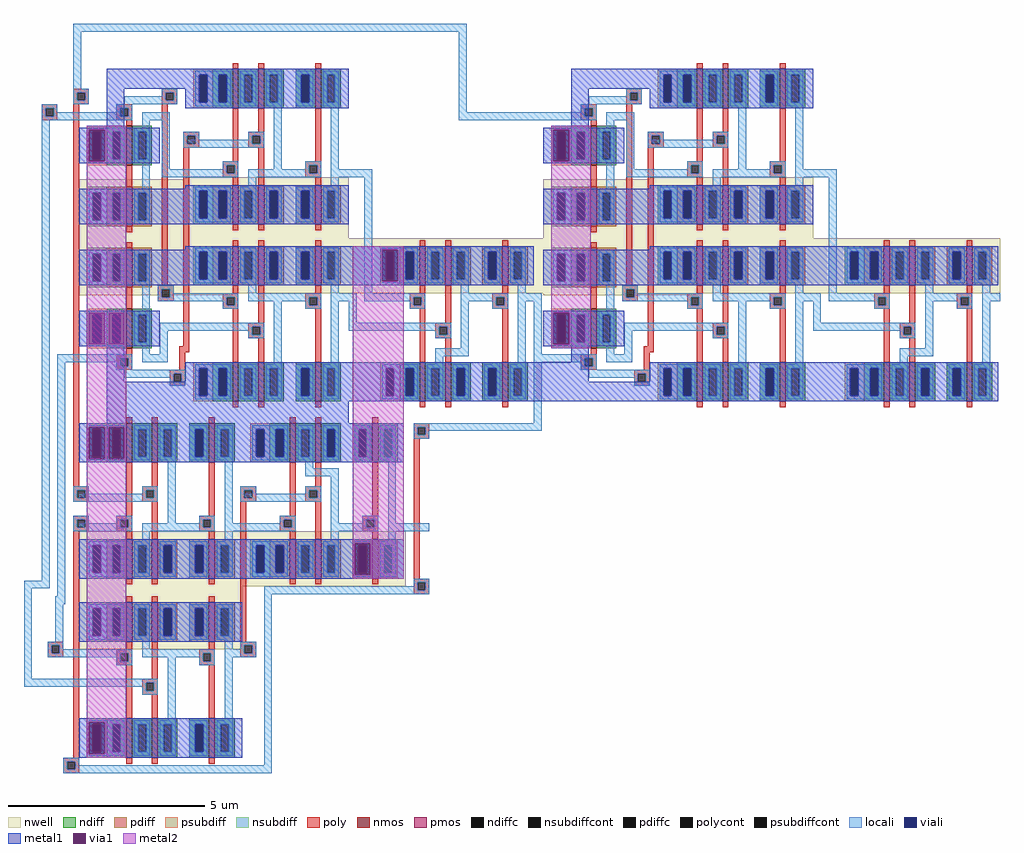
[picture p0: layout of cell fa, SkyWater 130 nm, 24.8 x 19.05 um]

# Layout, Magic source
magic
tech sky130A
<< nwell >>
rect 1110 290 1215 430
rect 0 -420 275 -385
rect 0 -505 415 -420
<< poly >>
rect -15 800 25 810
rect -15 780 -5 800
rect 15 780 25 800
rect -15 770 25 780
rect -95 760 -55 770
rect -95 740 -85 760
rect -65 740 -55 760
rect -95 730 -55 740
rect -15 -200 0 770
rect 850 -50 890 -40
rect 850 -70 860 -50
rect 880 -70 890 -50
rect 850 -80 890 -70
rect -15 -210 25 -200
rect -15 -230 -5 -210
rect 15 -230 25 -210
rect -15 -240 25 -230
rect 410 -210 450 -200
rect 410 -230 420 -210
rect 440 -230 450 -210
rect 410 -240 450 -230
rect -15 -285 25 -275
rect -15 -305 -5 -285
rect 15 -305 25 -285
rect -15 -315 25 -305
rect -80 -605 -40 -595
rect -80 -625 -70 -605
rect -50 -625 -40 -605
rect -80 -635 -40 -625
rect -15 -890 0 -315
rect 410 -595 425 -240
rect 850 -435 865 -80
rect 850 -445 890 -435
rect 850 -465 860 -445
rect 880 -465 890 -445
rect 850 -475 890 -465
rect 410 -605 450 -595
rect 410 -625 420 -605
rect 440 -625 450 -605
rect 410 -635 450 -625
rect -40 -900 0 -890
rect -40 -920 -30 -900
rect -10 -920 0 -900
rect -40 -930 0 -920
<< polycont >>
rect -5 780 15 800
rect -85 740 -65 760
rect 860 -70 880 -50
rect -5 -230 15 -210
rect 420 -230 440 -210
rect -5 -305 15 -285
rect -70 -625 -50 -605
rect 860 -465 880 -445
rect 420 -625 440 -605
rect -30 -920 -10 -900
<< locali >>
rect -15 955 985 975
rect -15 810 5 955
rect -15 800 25 810
rect -15 780 -5 800
rect 15 780 25 800
rect -15 770 25 780
rect -95 760 -55 770
rect -95 740 -85 760
rect -65 750 -55 760
rect 965 750 985 955
rect -65 740 0 750
rect -95 730 0 740
rect 965 730 1215 750
rect -95 -440 -75 730
rect 1160 280 1175 290
rect 1155 135 1175 280
rect -140 -460 -75 -440
rect -55 115 0 135
rect 1155 115 1190 135
rect -140 -690 -120 -460
rect -55 -480 -35 115
rect 1155 -40 1175 115
rect 850 -50 1175 -40
rect 850 -70 860 -50
rect 880 -60 1175 -50
rect 880 -70 890 -60
rect 850 -80 890 -70
rect -15 -210 25 -200
rect -15 -230 -5 -210
rect 15 -230 25 -210
rect -15 -240 25 -230
rect 410 -210 450 -200
rect 410 -230 420 -210
rect 440 -230 450 -210
rect 410 -240 450 -230
rect -15 -285 25 -275
rect -15 -305 -5 -285
rect 15 -305 25 -285
rect -15 -315 25 -305
rect 820 -315 890 -295
rect 850 -445 890 -435
rect 850 -455 860 -445
rect -60 -500 -35 -480
rect 470 -465 860 -455
rect 880 -465 890 -445
rect 470 -475 890 -465
rect -60 -595 -40 -500
rect -80 -605 -40 -595
rect -80 -625 -70 -605
rect -50 -615 -40 -605
rect 410 -605 450 -595
rect -50 -625 20 -615
rect -80 -635 20 -625
rect 410 -625 420 -605
rect 440 -625 450 -605
rect 410 -635 450 -625
rect -140 -710 25 -690
rect -40 -900 0 -890
rect -40 -920 -30 -900
rect -10 -910 0 -900
rect 470 -910 490 -475
rect -10 -920 490 -910
rect -40 -930 490 -920
<< metal1 >>
rect 1140 20 1255 115
rect 70 -45 685 20
rect 1155 15 1255 20
<< via1 >>
rect 770 320 810 400
rect 75 160 115 240
rect 25 -130 65 -50
rect 75 -130 115 -50
rect 700 -425 740 -345
rect 25 -880 65 -800
<< metal2 >>
rect 695 400 825 410
rect 695 320 770 400
rect 810 320 825 400
rect 20 240 120 250
rect 20 160 75 240
rect 115 160 120 240
rect 20 -50 120 160
rect 20 -130 25 -50
rect 65 -130 75 -50
rect 115 -130 120 -50
rect 20 -800 120 -130
rect 695 -345 825 320
rect 695 -425 700 -345
rect 740 -425 825 -345
rect 695 -435 825 -425
rect 20 -880 25 -800
rect 65 -880 120 -800
rect 20 -890 120 -880
use and  and_0
transform 1 0 120 0 -1 -340
box -120 -315 295 115
use and  and_1
transform 1 0 120 0 1 -590
box -120 -315 295 115
use or  or_0
transform 1 0 535 0 -1 -340
box -120 -315 295 115
use xor_  xor__0
transform 1 0 275 0 1 0
box -275 0 885 875
use xor_  xor__1
transform 1 0 1455 0 1 0
box -275 0 885 875
<< end >>

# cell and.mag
magic
tech sky130A
<< nwell >>
rect -120 -25 295 115
<< nmos >>
rect 0 -300 15 -200
rect 65 -300 80 -200
rect 210 -300 225 -200
<< pmos >>
rect 0 -5 15 95
rect 65 -5 80 95
rect 210 -5 225 95
<< ndiff >>
rect -50 -215 0 -200
rect -50 -285 -35 -215
rect -15 -285 0 -215
rect -50 -300 0 -285
rect 15 -215 65 -200
rect 15 -285 30 -215
rect 50 -285 65 -215
rect 15 -300 65 -285
rect 80 -215 130 -200
rect 80 -285 95 -215
rect 115 -285 130 -215
rect 80 -300 130 -285
rect 160 -215 210 -200
rect 160 -285 175 -215
rect 195 -285 210 -215
rect 160 -300 210 -285
rect 225 -215 275 -200
rect 225 -285 240 -215
rect 260 -285 275 -215
rect 225 -300 275 -285
<< pdiff >>
rect -50 80 0 95
rect -50 10 -35 80
rect -15 10 0 80
rect -50 -5 0 10
rect 15 80 65 95
rect 15 10 30 80
rect 50 10 65 80
rect 15 -5 65 10
rect 80 80 130 95
rect 80 10 95 80
rect 115 10 130 80
rect 80 -5 130 10
rect 160 80 210 95
rect 160 10 175 80
rect 195 10 210 80
rect 160 -5 210 10
rect 225 80 275 95
rect 225 10 240 80
rect 260 10 275 80
rect 225 -5 275 10
<< ndiffc >>
rect -35 -285 -15 -215
rect 30 -285 50 -215
rect 95 -285 115 -215
rect 175 -285 195 -215
rect 240 -285 260 -215
<< pdiffc >>
rect -35 10 -15 80
rect 30 10 50 80
rect 95 10 115 80
rect 175 10 195 80
rect 240 10 260 80
<< psubdiff >>
rect -100 -215 -50 -200
rect -100 -285 -85 -215
rect -65 -285 -50 -215
rect -100 -300 -50 -285
<< nsubdiff >>
rect -100 80 -50 95
rect -100 10 -85 80
rect -65 10 -50 80
rect -100 -5 -50 10
<< psubdiffcont >>
rect -85 -285 -65 -215
<< nsubdiffcont >>
rect -85 10 -65 80
<< poly >>
rect 0 95 15 110
rect 65 95 80 110
rect 210 95 225 110
rect 0 -25 15 -5
rect -25 -35 15 -25
rect -25 -55 -15 -35
rect 5 -55 15 -35
rect -25 -65 15 -55
rect 0 -200 15 -65
rect 65 -100 80 -5
rect 210 -25 225 -5
rect 185 -35 225 -25
rect 185 -55 195 -35
rect 215 -55 225 -35
rect 185 -65 225 -55
rect 40 -110 80 -100
rect 40 -130 50 -110
rect 70 -130 80 -110
rect 40 -140 80 -130
rect 65 -200 80 -140
rect 210 -200 225 -65
rect 0 -315 15 -300
rect 65 -315 80 -300
rect 210 -315 225 -300
<< polycont >>
rect -15 -55 5 -35
rect 195 -55 215 -35
rect 50 -130 70 -110
<< locali >>
rect -95 80 -5 90
rect -95 10 -85 80
rect -65 10 -35 80
rect -15 10 -5 80
rect -95 0 -5 10
rect 20 80 60 90
rect 20 10 30 80
rect 50 10 60 80
rect 20 0 60 10
rect 85 80 125 90
rect 85 10 95 80
rect 115 10 125 80
rect 85 0 125 10
rect 160 80 205 90
rect 160 10 175 80
rect 195 10 205 80
rect 160 0 205 10
rect 230 80 270 90
rect 230 10 240 80
rect 260 10 270 80
rect 230 0 270 10
rect 40 -25 60 0
rect 250 -25 270 0
rect -120 -35 15 -25
rect -120 -45 -15 -35
rect -25 -55 -15 -45
rect 5 -55 15 -35
rect 40 -35 225 -25
rect 40 -45 195 -35
rect -25 -65 15 -55
rect -120 -110 80 -100
rect -120 -120 50 -110
rect 40 -130 50 -120
rect 70 -130 80 -110
rect 40 -140 80 -130
rect 105 -205 125 -45
rect 185 -55 195 -45
rect 215 -55 225 -35
rect 185 -65 225 -55
rect 250 -45 295 -25
rect 250 -205 270 -45
rect -95 -215 -5 -205
rect -95 -285 -85 -215
rect -65 -285 -35 -215
rect -15 -285 -5 -215
rect -95 -295 -5 -285
rect 20 -215 60 -205
rect 20 -285 30 -215
rect 50 -285 60 -215
rect 20 -295 60 -285
rect 85 -215 125 -205
rect 85 -285 95 -215
rect 115 -285 125 -215
rect 85 -295 125 -285
rect 160 -215 205 -205
rect 160 -285 175 -215
rect 195 -285 205 -215
rect 160 -295 205 -285
rect 230 -215 270 -205
rect 230 -285 240 -215
rect 260 -285 270 -215
rect 230 -295 270 -285
<< viali >>
rect -85 10 -65 80
rect -35 10 -15 80
rect 95 10 115 80
rect 175 10 195 80
rect -85 -285 -65 -215
rect -35 -285 -15 -215
rect 175 -285 195 -215
<< metal1 >>
rect -120 80 295 95
rect -120 10 -85 80
rect -65 10 -35 80
rect -15 10 95 80
rect 115 10 175 80
rect 195 10 295 80
rect -120 -5 295 10
rect -120 -215 295 -200
rect -120 -285 -85 -215
rect -65 -285 -35 -215
rect -15 -285 175 -215
rect 195 -285 295 -215
rect -120 -300 295 -285
<< labels >>
rlabel locali -120 -35 -120 -35 7 A
port 1 w
rlabel locali -120 -110 -120 -110 7 B
port 2 w
rlabel metal1 -120 -250 -120 -250 7 VN
port 5 w
rlabel metal1 -120 45 -120 45 7 VP
port 4 w
rlabel locali 295 -35 295 -35 3 X
port 3 e
<< end >>

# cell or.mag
magic
tech sky130A
<< nwell >>
rect -120 -25 295 115
<< nmos >>
rect 0 -300 15 -200
rect 65 -300 80 -200
rect 210 -300 225 -200
<< pmos >>
rect 0 -5 15 95
rect 65 -5 80 95
rect 210 -5 225 95
<< ndiff >>
rect -50 -215 0 -200
rect -50 -285 -35 -215
rect -15 -285 0 -215
rect -50 -300 0 -285
rect 15 -215 65 -200
rect 15 -285 30 -215
rect 50 -285 65 -215
rect 15 -300 65 -285
rect 80 -215 130 -200
rect 80 -285 95 -215
rect 115 -285 130 -215
rect 80 -300 130 -285
rect 160 -215 210 -200
rect 160 -285 175 -215
rect 195 -285 210 -215
rect 160 -300 210 -285
rect 225 -215 275 -200
rect 225 -285 240 -215
rect 260 -285 275 -215
rect 225 -300 275 -285
<< pdiff >>
rect -50 80 0 95
rect -50 10 -35 80
rect -15 10 0 80
rect -50 -5 0 10
rect 15 80 65 95
rect 15 10 30 80
rect 50 10 65 80
rect 15 -5 65 10
rect 80 80 130 95
rect 80 10 95 80
rect 115 10 130 80
rect 80 -5 130 10
rect 160 80 210 95
rect 160 10 175 80
rect 195 10 210 80
rect 160 -5 210 10
rect 225 80 275 95
rect 225 10 240 80
rect 260 10 275 80
rect 225 -5 275 10
<< ndiffc >>
rect -35 -285 -15 -215
rect 30 -285 50 -215
rect 95 -285 115 -215
rect 175 -285 195 -215
rect 240 -285 260 -215
<< pdiffc >>
rect -35 10 -15 80
rect 30 10 50 80
rect 95 10 115 80
rect 175 10 195 80
rect 240 10 260 80
<< psubdiff >>
rect -100 -215 -50 -200
rect -100 -285 -85 -215
rect -65 -285 -50 -215
rect -100 -300 -50 -285
<< nsubdiff >>
rect -100 80 -50 95
rect -100 10 -85 80
rect -65 10 -50 80
rect -100 -5 -50 10
<< psubdiffcont >>
rect -85 -285 -65 -215
<< nsubdiffcont >>
rect -85 10 -65 80
<< poly >>
rect 0 95 15 110
rect 65 95 80 110
rect 210 95 225 110
rect 0 -25 15 -5
rect -25 -35 15 -25
rect -25 -55 -15 -35
rect 5 -55 15 -35
rect -25 -65 15 -55
rect 0 -200 15 -65
rect 65 -100 80 -5
rect 210 -25 225 -5
rect 185 -35 225 -25
rect 185 -55 195 -35
rect 215 -55 225 -35
rect 185 -65 225 -55
rect 40 -110 80 -100
rect 40 -130 50 -110
rect 70 -130 80 -110
rect 40 -140 80 -130
rect 65 -200 80 -140
rect 210 -200 225 -65
rect 0 -315 15 -300
rect 65 -315 80 -300
rect 210 -315 225 -300
<< polycont >>
rect -15 -55 5 -35
rect 195 -55 215 -35
rect 50 -130 70 -110
<< locali >>
rect -95 80 -5 90
rect -95 10 -85 80
rect -65 10 -35 80
rect -15 10 -5 80
rect -95 0 -5 10
rect 20 80 60 90
rect 20 10 30 80
rect 50 10 60 80
rect 20 0 60 10
rect 85 80 125 90
rect 85 10 95 80
rect 115 10 125 80
rect 85 0 125 10
rect 165 80 205 90
rect 165 10 175 80
rect 195 10 205 80
rect 165 0 205 10
rect 230 80 270 90
rect 230 10 240 80
rect 260 10 270 80
rect 230 0 270 10
rect 105 -25 125 0
rect 250 -25 270 0
rect -120 -35 15 -25
rect -120 -45 -15 -35
rect -25 -55 -15 -45
rect 5 -55 15 -35
rect -25 -65 15 -55
rect 105 -35 225 -25
rect 105 -45 195 -35
rect -120 -110 80 -100
rect -120 -120 50 -110
rect 40 -130 50 -120
rect 70 -130 80 -110
rect 40 -140 80 -130
rect 105 -165 125 -45
rect 185 -55 195 -45
rect 215 -55 225 -35
rect 185 -65 225 -55
rect 250 -45 295 -25
rect 40 -185 125 -165
rect 40 -205 60 -185
rect 185 -205 205 -200
rect 250 -205 270 -45
rect -95 -215 -5 -205
rect -95 -285 -85 -215
rect -65 -285 -35 -215
rect -15 -285 -5 -215
rect -95 -295 -5 -285
rect 20 -215 60 -205
rect 20 -285 30 -215
rect 50 -285 60 -215
rect 20 -295 60 -285
rect 85 -215 125 -205
rect 85 -285 95 -215
rect 115 -285 125 -215
rect 85 -295 125 -285
rect 165 -215 205 -205
rect 165 -285 175 -215
rect 195 -285 205 -215
rect 165 -295 205 -285
rect 230 -215 270 -205
rect 230 -285 240 -215
rect 260 -285 270 -215
rect 230 -295 270 -285
<< viali >>
rect -85 10 -65 80
rect -35 10 -15 80
rect 175 10 195 80
rect -85 -285 -65 -215
rect -35 -285 -15 -215
rect 95 -285 115 -215
rect 175 -285 195 -215
<< metal1 >>
rect -120 80 290 95
rect -120 10 -85 80
rect -65 10 -35 80
rect -15 10 175 80
rect 195 10 290 80
rect -120 -5 290 10
rect -120 -215 290 -200
rect -120 -285 -85 -215
rect -65 -285 -35 -215
rect -15 -285 95 -215
rect 115 -285 175 -215
rect 195 -285 290 -215
rect -120 -300 290 -285
<< labels >>
rlabel locali -120 -35 -120 -35 7 A
port 1 w
rlabel locali -120 -110 -120 -110 7 B
port 2 w
rlabel metal1 -120 -250 -120 -250 7 VN
port 5 w
rlabel metal1 -120 45 -120 45 7 VP
port 4 w
rlabel locali 295 -35 295 -35 3 X
port 3 e
<< end >>

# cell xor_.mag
magic
tech sky130A
<< nwell >>
rect -275 485 85 580
rect -275 430 410 485
rect -275 405 500 430
rect -275 305 65 405
rect -275 285 115 305
rect 385 290 500 405
<< poly >>
rect -65 800 -25 810
rect -65 780 -55 800
rect -35 780 -25 800
rect -65 770 -25 780
rect -65 310 -50 770
rect -10 690 30 700
rect -10 670 0 690
rect 20 670 30 690
rect -10 660 30 670
rect -75 300 -35 310
rect -75 280 -65 300
rect -45 280 -35 300
rect -75 270 -35 280
rect -10 155 5 660
rect -20 140 5 155
rect -20 95 -5 140
rect -45 85 -5 95
rect -45 65 -35 85
rect -15 65 -5 85
rect -45 55 -5 65
<< polycont >>
rect -55 780 -35 800
rect 0 670 20 690
rect -65 280 -45 300
rect -35 65 -15 85
<< locali >>
rect -65 800 -25 810
rect -65 790 -55 800
rect -160 780 -55 790
rect -35 780 -25 800
rect -160 770 -25 780
rect -75 730 -45 750
rect -65 605 -45 730
rect -10 690 30 700
rect -10 670 0 690
rect 20 670 30 690
rect -10 660 30 670
rect -65 585 15 605
rect 410 585 470 605
rect -75 300 -35 310
rect -75 280 -65 300
rect -45 290 -35 300
rect 450 290 470 585
rect -45 280 5 290
rect -75 270 5 280
rect 410 215 430 290
rect 450 270 505 290
rect -70 195 15 215
rect 410 195 475 215
rect -70 115 -50 195
rect -160 85 -5 95
rect -160 75 -35 85
rect -45 65 -35 75
rect -15 65 -5 85
rect -45 55 -5 65
<< metal1 >>
rect -205 810 -5 860
rect -205 705 -160 810
rect -70 465 10 555
rect -70 310 5 400
rect 405 310 490 410
rect -205 65 -160 165
rect -205 15 5 65
rect 400 15 475 115
<< via1 >>
rect -250 625 -210 705
rect -250 160 -210 240
<< metal2 >>
rect -255 705 -155 715
rect -255 625 -250 705
rect -210 625 -155 705
rect -255 240 -155 625
rect -255 160 -250 240
rect -210 160 -155 240
rect -255 150 -155 160
use and  and_0
transform 1 0 115 0 1 315
box -120 -315 295 115
use and  and_1
transform 1 0 115 0 -1 560
box -120 -315 295 115
use invertor  invertor_0
transform 1 0 -140 0 -1 755
box -135 -15 70 315
use invertor  invertor_1
transform 1 0 -140 0 1 110
box -135 -15 70 315
use or  or_0
transform 1 0 590 0 1 315
box -120 -315 295 115
<< end >>

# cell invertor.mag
magic
tech sky130A
<< nwell >>
rect -135 175 70 315
<< nmos >>
rect -15 40 0 140
<< pmos >>
rect -15 195 0 295
<< ndiff >>
rect -65 125 -15 140
rect -65 55 -50 125
rect -30 55 -15 125
rect -65 40 -15 55
rect 0 125 50 140
rect 0 55 15 125
rect 35 55 50 125
rect 0 40 50 55
<< pdiff >>
rect -65 280 -15 295
rect -65 210 -50 280
rect -30 210 -15 280
rect -65 195 -15 210
rect 0 280 50 295
rect 0 210 15 280
rect 35 210 50 280
rect 0 195 50 210
<< ndiffc >>
rect -50 55 -30 125
rect 15 55 35 125
<< pdiffc >>
rect -50 210 -30 280
rect 15 210 35 280
<< psubdiff >>
rect -115 125 -65 140
rect -115 55 -100 125
rect -80 55 -65 125
rect -115 40 -65 55
<< nsubdiff >>
rect -115 280 -65 295
rect -115 210 -100 280
rect -80 210 -65 280
rect -115 195 -65 210
<< psubdiffcont >>
rect -100 55 -80 125
<< nsubdiffcont >>
rect -100 210 -80 280
<< poly >>
rect -15 295 0 310
rect -15 140 0 195
rect -15 25 0 40
rect -40 15 0 25
rect -40 -5 -30 15
rect -10 -5 0 15
rect -40 -15 0 -5
<< polycont >>
rect -30 -5 -10 15
<< locali >>
rect -110 280 -20 290
rect -110 210 -100 280
rect -80 210 -50 280
rect -30 210 -20 280
rect -110 200 -20 210
rect 5 280 45 290
rect 5 210 15 280
rect 35 210 45 280
rect 5 200 45 210
rect 25 135 45 200
rect -110 125 -20 135
rect -110 55 -100 125
rect -80 55 -50 125
rect -30 55 -20 125
rect -110 45 -20 55
rect 5 125 45 135
rect 5 55 15 125
rect 35 55 45 125
rect 5 45 45 55
rect 25 25 45 45
rect -135 15 0 25
rect -135 5 -30 15
rect -40 -5 -30 5
rect -10 -5 0 15
rect 25 5 70 25
rect -40 -15 0 -5
<< viali >>
rect -100 210 -80 280
rect -50 210 -30 280
rect -100 55 -80 125
rect -50 55 -30 125
<< metal1 >>
rect -135 280 70 290
rect -135 210 -100 280
rect -80 210 -50 280
rect -30 210 70 280
rect -135 200 70 210
rect -135 125 70 135
rect -135 55 -100 125
rect -80 55 -50 125
rect -30 55 70 125
rect -135 45 70 55
<< labels >>
rlabel locali -135 15 -135 15 7 A
port 1 w
rlabel locali 70 15 70 15 3 Y
port 2 e
rlabel metal1 -135 245 -135 245 7 VP
port 3 w
rlabel metal1 -135 90 -135 90 7 VN
port 4 w
<< end >>
